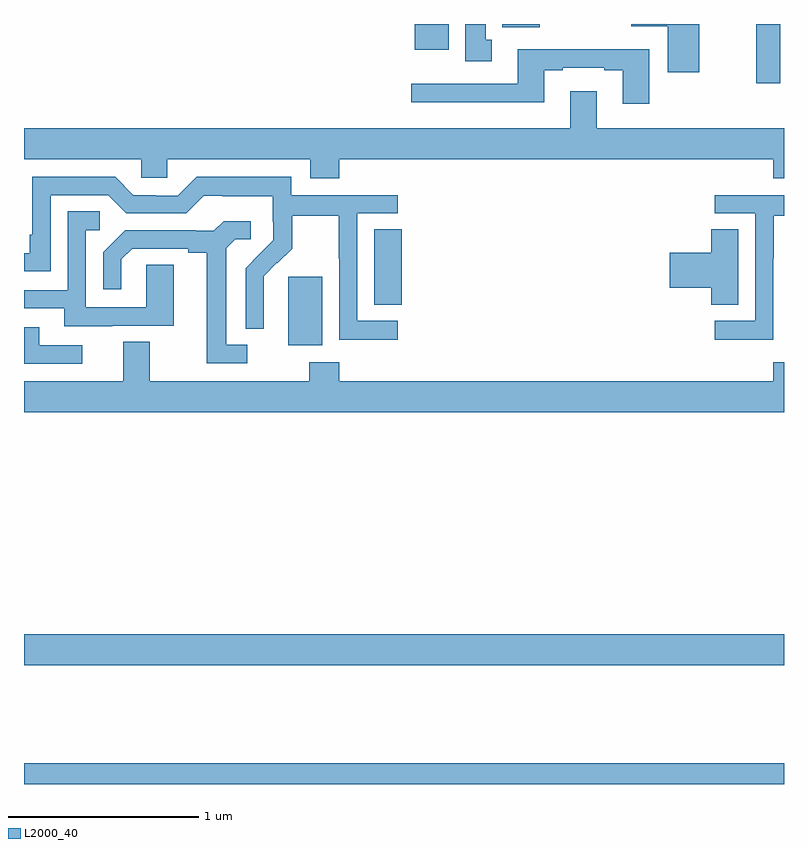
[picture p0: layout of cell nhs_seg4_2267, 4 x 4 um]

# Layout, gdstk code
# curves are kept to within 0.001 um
import gdstk
lib = gdstk.Library(unit=1e-6, precision=1e-09)
def R(c, l, rs):  # rectangles x0, y0, x1, y1
    for r in rs: c.add(gdstk.rectangle(r[:2], r[2:], *l))
def P(c, l, *ps):  # polygons
    for p in ps: c.add(gdstk.Polygon(p, *l))
L2000_40 = (2000, 40)

nhs_seg4_2267 = lib.new_cell('nhs_seg4_2267')
R(nhs_seg4_2267, L2000_40, [(229,758.9,233,759.008), (229,759.524,233,759.688), (230.39,761.21,230.569,761.571), (230.843,761.422,230.987,761.819), (232.855,762.588,232.981,762.9), (231.056,762.764,231.235,762.9), (231.518,762.884,231.715,762.9)])
P(nhs_seg4_2267, L2000_40, [(231.463,762.818),(231.43,762.818),(231.43,762.9),(231.323,762.9),(231.323,762.705),(231.463,762.705)],
  [(232.554,762.9),(232.196,762.9),(232.196,762.887),(232.388,762.887),(232.388,762.645),(232.554,762.645)],
  [(232.291,762.766),(231.599,762.766),(231.599,762.585),(231.039,762.585),(231.039,762.488),(231.739,762.488),(231.739,762.657),(231.835,762.657),(231.835,762.669),(232.055,762.669),(232.055,762.657),(232.151,762.657),(232.151,762.48),(232.291,762.48)],
  [(230.66,762.188),(232.943,762.188),(232.943,762.089),(233,762.089),(233,762.352),(232.015,762.352),(232.015,762.547),(231.875,762.547),(231.875,762.352),(229,762.352),(229,762.188),(229.617,762.188),(229.617,762.09),(229.755,762.09),(229.755,762.188),(230.507,762.188),(230.507,762.089),(230.66,762.089)],
  [(230.968,761.337),(230.754,761.337),(230.754,761.904),(230.968,761.904),(230.968,762),(230.406,762),(230.406,762.097),(229.909,762.097),(229.809,761.997),(229.694,761.997),(229.694,762),(229.575,762),(229.479,762.096),(229.044,762.096),(229.044,761.791),(229.031,761.791),(229.031,761.694),(229,761.694),(229,761.598),(229.14,761.598),(229.14,762),(229.443,762),(229.539,761.904),(229.854,761.904),(229.947,761.997),(230.047,761.997),(230.047,761.993),(230.31,761.993),(230.31,761.859),(230.312,761.859),(230.312,761.762),(230.166,761.614),(230.166,761.296),(230.262,761.296),(230.261,761.573),(230.331,761.643),(230.334,761.64),(230.411,761.717),(230.411,761.892),(230.656,761.892),(230.656,761.668),(230.658,761.668),(230.658,761.239),(230.968,761.239)],
  [(232.944,761.668),(232.947,761.668),(232.947,761.892),(233,761.892),(233,762),(232.635,762),(232.635,761.904),(232.848,761.904),(232.848,761.337),(232.635,761.337),(232.635,761.239),(232.944,761.239)],
  [(229.465,761.313),(229.789,761.313),(229.789,761.633),(229.644,761.633),(229.644,761.409),(229.326,761.409),(229.326,761.814),(229.399,761.814),(229.399,761.915),(229.23,761.915),(229.23,761.499),(229,761.499),(229,761.403),(229.211,761.403),(229.211,761.309),(229.465,761.309)],
  [(230.176,761.211),(230.065,761.211),(230.065,761.719),(230.112,761.766),(230.194,761.766),(230.194,761.863),(230.05,761.863),(229.998,761.811),(229.904,761.811),(229.904,761.814),(229.532,761.814),(229.416,761.698),(229.416,761.505),(229.513,761.505),(229.513,761.661),(229.57,761.718),(229.865,761.718),(229.865,761.696),(229.961,761.696),(229.961,761.115),(230.176,761.115)],
  [(232.759,761.819),(232.616,761.819),(232.616,761.696),(232.398,761.696),(232.398,761.513),(232.616,761.513),(232.616,761.422),(232.759,761.422)],
  [(229.306,761.208),(229.081,761.208),(229.081,761.304),(229,761.304),(229,761.112),(229.306,761.112)],
  [(233,761.119),(232.943,761.119),(232.943,761.02),(230.66,761.02),(230.66,761.119),(230.5,761.119),(230.5,761.02),(229.663,761.02),(229.663,761.228),(229.523,761.228),(229.523,761.02),(229,761.02),(229,760.856),(233,760.856)])

lib.write_gds('nhs_seg4_2267.gds')
